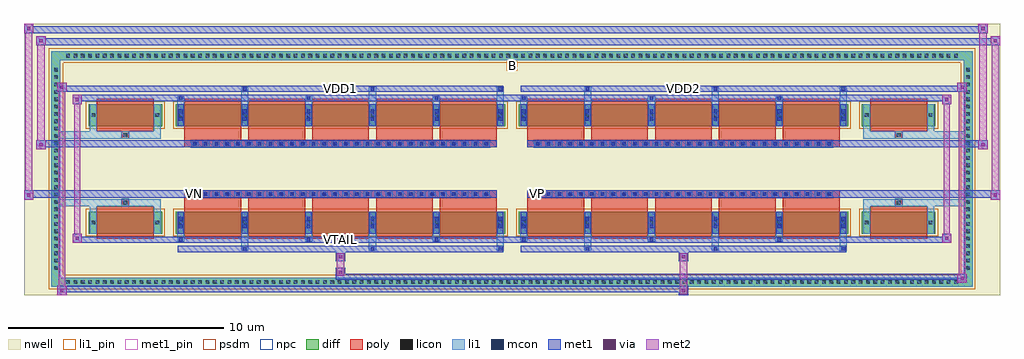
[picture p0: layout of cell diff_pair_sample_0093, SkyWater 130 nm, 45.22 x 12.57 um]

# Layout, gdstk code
import gdstk
lib = gdstk.Library(unit=1e-6, precision=5e-09)
def R(c, l, rs):  # rectangles x0, y0, x1, y1
    for r in rs: c.add(gdstk.rectangle(r[:2], r[2:], *l))
def A(c, l, x, y, w, h, nx, ny, dx, dy):  # array of equal rectangles
    R(c, l, [(x+i*dx, y+j*dy, x+i*dx+w, y+j*dy+h) for i in range(nx) for j in range(ny)])
def P(c, l, *ps):  # polygons
    for p in ps: c.add(gdstk.Polygon(p, *l))
nwell = (64, 20)
diff = (65, 20)
poly = (66, 20)
licon = (66, 44)
li1_pin = (67, 16)
li1 = (67, 20)
mcon = (67, 44)
met1_pin = (68, 16)
met1 = (68, 20)
via = (68, 44)
met2 = (69, 20)
psdm = (94, 20)
npc = (95, 20)

diff_pair_sample_0093 = lib.new_cell('diff_pair_sample_0093')
R(diff_pair_sample_0093, nwell, [(-22.61,-5.85,22.61,6.72), (-19.93,-4.04,-0.01,-0.8), (0.01,-4.04,19.93,-0.8), (-19.93,0.8,-0.01,4.04), (0.01,0.8,19.93,4.04)])
A(diff_pair_sample_0093, diff, -20.775, -5.45, 0.41, 0.41, 122, 2, 0.34, 10.49)
A(diff_pair_sample_0093, diff, -21.34, -4.795, 0.41, 0.41, 1, 28, 0, 0.34)
A(diff_pair_sample_0093, diff, 20.93, -4.795, 0.41, 0.41, 1, 28, 0, 0.34)
R(diff_pair_sample_0093, diff, [(-20.775,-5.45,20.775,-5.04), (-21.34,-4.795,-20.93,4.795), (20.93,-4.795,21.34,4.795), (-19.62,-2.995,-16.21,-1.985), (-15.57,-2.995,-0.32,-1.985), (0.32,-2.995,15.57,-1.985), (16.21,-2.995,19.62,-1.985), (-19.62,1.985,-16.21,2.995), (-15.57,1.985,-0.32,2.995), (0.32,1.985,15.57,2.995), (16.21,1.985,19.62,2.995), (-20.775,5.04,20.775,5.45)])
P(diff_pair_sample_0093, diff, [(21.34,5.45),(-21.34,5.45),(-21.34,-5.04),(-20.93,-5.04),(-20.93,5.04),(20.93,5.04),(20.93,-5.04),(-20.93,-5.04),(-21.34,-5.04),(-21.34,-5.45),(21.34,-5.45)])
A(diff_pair_sample_0093, poly, -15.18, -3.245, 2.63, 1.51, 5, 2, 2.96, 4.98)
A(diff_pair_sample_0093, poly, 0.71, -3.245, 2.63, 1.51, 5, 2, 2.96, 4.98)
A(diff_pair_sample_0093, poly, -15.18, -1.735, 2.63, 0.405, 5, 2, 2.96, 3.065)
A(diff_pair_sample_0093, poly, 0.71, -1.735, 2.63, 0.405, 5, 2, 2.96, 3.065)
A(diff_pair_sample_0093, poly, -14.86, -1.33, 0.33, 0.33, 28, 2, 0.5, 2.33)
A(diff_pair_sample_0093, poly, 1.03, -1.33, 0.33, 0.33, 28, 2, 0.5, 2.33)
R(diff_pair_sample_0093, poly, [(-19.23,-3.245,-16.6,-1.735), (16.6,-3.245,19.23,-1.735), (-18.08,-1.735,-17.75,-1.405), (-18.08,-1.735,-17.75,-1.405), (17.75,-1.735,18.08,-1.405), (17.75,-1.735,18.08,-1.405), (-15.18,-1.33,-0.71,-1), (0.71,-1.33,15.18,-1), (-15.18,1,-0.71,1.33), (0.71,1,15.18,1.33), (-18.08,1.405,-17.75,1.735), (-18.08,1.405,-17.75,1.735), (17.75,1.405,18.08,1.735), (17.75,1.405,18.08,1.735), (-19.23,1.735,-16.6,3.245), (16.6,1.735,19.23,3.245)])
A(diff_pair_sample_0093, licon, -20.655, -5.33, 0.17, 0.17, 122, 2, 0.34, 10.49)
A(diff_pair_sample_0093, licon, -21.22, -4.675, 0.17, 0.17, 1, 28, 0, 0.34)
A(diff_pair_sample_0093, licon, 21.05, -4.675, 0.17, 0.17, 1, 28, 0, 0.34)
A(diff_pair_sample_0093, licon, -15.43, -2.575, 0.17, 0.17, 6, 2, 2.96, 4.98)
A(diff_pair_sample_0093, licon, 0.46, -2.575, 0.17, 0.17, 6, 2, 2.96, 4.98)
A(diff_pair_sample_0093, licon, -14.78, -1.25, 0.17, 0.17, 28, 2, 0.5, 2.33)
A(diff_pair_sample_0093, licon, 1.11, -1.25, 0.17, 0.17, 28, 2, 0.5, 2.33)
R(diff_pair_sample_0093, licon, [(-19.48,-2.575,-19.31,-2.405), (-16.52,-2.575,-16.35,-2.405), (16.35,-2.575,16.52,-2.405), (19.31,-2.575,19.48,-2.405), (-18,-1.655,-17.83,-1.485), (17.83,-1.655,18,-1.485), (-18,1.485,-17.83,1.655), (17.83,1.485,18,1.655), (-19.48,2.405,-19.31,2.575), (-16.52,2.405,-16.35,2.575), (16.35,2.405,16.52,2.575), (19.31,2.405,19.48,2.575)])
R(diff_pair_sample_0093, li1_pin, [(-0.25,4.54,0.25,5.04)])
A(diff_pair_sample_0093, li1, -20.735, -5.41, 0.33, 0.33, 122, 2, 0.34, 10.49)
A(diff_pair_sample_0093, li1, -21.3, -4.755, 0.33, 0.33, 1, 28, 0, 0.34)
A(diff_pair_sample_0093, li1, 20.97, -4.755, 0.33, 0.33, 1, 28, 0, 0.34)
A(diff_pair_sample_0093, li1, -12.55, -3.8, 0.33, 0.805, 3, 2, 5.92, 6.795)
A(diff_pair_sample_0093, li1, -12.47, -3.8, 0.17, 0.17, 3, 2, 5.92, 7.43)
A(diff_pair_sample_0093, li1, 3.34, -3.8, 0.33, 0.805, 3, 2, 5.92, 6.795)
A(diff_pair_sample_0093, li1, 3.42, -3.8, 0.17, 0.17, 3, 2, 5.92, 7.43)
A(diff_pair_sample_0093, li1, -15.51, -3.37, 0.33, 0.375, 3, 2, 5.92, 6.365)
A(diff_pair_sample_0093, li1, -15.43, -3.37, 0.17, 0.17, 3, 2, 5.92, 6.57)
A(diff_pair_sample_0093, li1, 0.38, -3.37, 0.33, 0.375, 3, 2, 5.92, 6.365)
A(diff_pair_sample_0093, li1, 0.46, -3.37, 0.17, 0.17, 3, 2, 5.92, 6.57)
A(diff_pair_sample_0093, li1, -15.51, -2.995, 0.33, 1.01, 6, 2, 2.96, 4.98)
A(diff_pair_sample_0093, li1, 0.38, -2.995, 0.33, 1.01, 6, 2, 2.96, 4.98)
A(diff_pair_sample_0093, li1, -15.43, -2.755, 0.17, 0.17, 6, 2, 2.96, 0.36)
A(diff_pair_sample_0093, li1, -15.43, -2.755, 0.17, 0.53, 6, 2, 2.96, 4.98)
A(diff_pair_sample_0093, li1, 0.46, -2.755, 0.17, 0.17, 6, 2, 2.96, 0.36)
A(diff_pair_sample_0093, li1, 0.46, -2.755, 0.17, 0.53, 6, 2, 2.96, 4.98)
A(diff_pair_sample_0093, li1, -15.51, -2.655, 0.33, 0.33, 6, 2, 2.96, 4.98)
A(diff_pair_sample_0093, li1, 0.38, -2.655, 0.33, 0.33, 6, 2, 2.96, 4.98)
A(diff_pair_sample_0093, li1, -14.86, -1.33, 0.33, 0.33, 28, 2, 0.5, 2.33)
A(diff_pair_sample_0093, li1, 1.03, -1.33, 0.33, 0.33, 28, 2, 0.5, 2.33)
A(diff_pair_sample_0093, li1, -15.43, 2.225, 0.17, 0.17, 6, 2, 2.96, 0.36)
A(diff_pair_sample_0093, li1, 0.46, 2.225, 0.17, 0.17, 6, 2, 2.96, 0.36)
R(diff_pair_sample_0093, li1, [(-21.34,-5.45,-20.93,-5.04), (-21.34,-5.45,-20.93,-5.04), (-20.93,-5.45,20.93,-5.04), (20.93,-5.45,21.34,-5.04), (20.93,-5.45,21.34,-5.04), (-21.34,-5.04,-20.93,5.04), (20.93,-5.04,21.34,5.04), (-19.56,-2.995,-19.23,-1.985), (-16.6,-2.995,-16.27,-1.985), (16.27,-2.995,16.6,-1.985), (19.23,-2.995,19.56,-1.985), (-19.56,-2.655,-19.23,-2.325), (-16.6,-2.655,-16.27,-2.325), (16.27,-2.655,16.6,-2.325), (19.23,-2.655,19.56,-2.325), (-19.56,-1.985,-19.23,-1.405), (-16.6,-1.985,-16.27,-1.405), (16.27,-1.985,16.6,-1.405), (19.23,-1.985,19.56,-1.405), (-21.34,-1.735,-18.08,-1.405), (-19.56,-1.735,-18.08,-1.405), (-18.08,-1.735,-17.75,-1.405), (-17.75,-1.735,-16.27,-1.405), (16.27,-1.735,17.75,-1.405), (17.75,-1.735,18.08,-1.405), (17.75,-1.735,21.34,-1.405), (18.08,-1.735,19.56,-1.405), (-21.34,1.405,-18.08,1.735), (-19.56,1.405,-18.08,1.735), (-19.56,1.405,-19.23,1.985), (-18.08,1.405,-17.75,1.735), (-17.75,1.405,-16.27,1.735), (-16.6,1.405,-16.27,1.985), (16.27,1.405,17.75,1.735), (16.27,1.405,16.6,1.985), (17.75,1.405,18.08,1.735), (17.75,1.405,21.34,1.735), (18.08,1.405,19.56,1.735), (19.23,1.405,19.56,1.985), (-19.56,1.985,-19.23,2.995), (-16.6,1.985,-16.27,2.995), (16.27,1.985,16.6,2.995), (19.23,1.985,19.56,2.995), (-19.56,2.325,-19.23,2.655), (-16.6,2.325,-16.27,2.655), (16.27,2.325,16.6,2.655), (19.23,2.325,19.56,2.655), (-21.34,5.04,-20.93,5.45), (-21.34,5.04,-20.93,5.45), (-20.93,5.04,20.93,5.45), (20.93,5.04,21.34,5.45), (20.93,5.04,21.34,5.45)])
A(diff_pair_sample_0093, mcon, -12.47, -3.8, 0.17, 0.17, 3, 2, 5.92, 7.43)
A(diff_pair_sample_0093, mcon, 3.42, -3.8, 0.17, 0.17, 3, 2, 5.92, 7.43)
A(diff_pair_sample_0093, mcon, -15.43, -3.37, 0.17, 0.17, 3, 2, 5.92, 6.57)
A(diff_pair_sample_0093, mcon, 0.46, -3.37, 0.17, 0.17, 3, 2, 5.92, 6.57)
A(diff_pair_sample_0093, mcon, -15.43, -2.755, 0.17, 0.17, 6, 2, 2.96, 0.36)
A(diff_pair_sample_0093, mcon, 0.46, -2.755, 0.17, 0.17, 6, 2, 2.96, 0.36)
A(diff_pair_sample_0093, mcon, -14.78, -1.25, 0.17, 0.17, 28, 2, 0.5, 2.33)
A(diff_pair_sample_0093, mcon, 1.11, -1.25, 0.17, 0.17, 28, 2, 0.5, 2.33)
A(diff_pair_sample_0093, mcon, -15.43, 2.225, 0.17, 0.17, 6, 2, 2.96, 0.36)
A(diff_pair_sample_0093, mcon, 0.46, 2.225, 0.17, 0.17, 6, 2, 2.96, 0.36)
R(diff_pair_sample_0093, met1_pin, [(-8.08,-3.41,-7.81,-3.14), (-14.83,-1.29,-14.56,-1.02), (1.06,-1.29,1.33,-1.02), (-8.08,3.59,-7.81,3.86), (7.81,3.59,8.08,3.86)])
A(diff_pair_sample_0093, met1, -12.53, -3.86, 0.29, 0.29, 3, 2, 5.92, 7.43)
A(diff_pair_sample_0093, met1, 3.36, -3.86, 0.29, 0.29, 3, 2, 5.92, 7.43)
A(diff_pair_sample_0093, met1, -15.49, -3.43, 0.29, 0.29, 3, 2, 5.92, 6.57)
A(diff_pair_sample_0093, met1, 0.4, -3.43, 0.29, 0.29, 3, 2, 5.92, 6.57)
A(diff_pair_sample_0093, met1, -15.49, -2.995, 0.29, 1.01, 6, 2, 2.96, 4.98)
A(diff_pair_sample_0093, met1, 0.4, -2.995, 0.29, 1.01, 6, 2, 2.96, 4.98)
A(diff_pair_sample_0093, met1, -15.49, -2.815, 0.29, 0.29, 6, 2, 2.96, 0.36)
A(diff_pair_sample_0093, met1, 0.4, -2.815, 0.29, 0.29, 6, 2, 2.96, 0.36)
A(diff_pair_sample_0093, met1, -14.84, -1.31, 0.29, 0.29, 28, 2, 0.5, 2.33)
A(diff_pair_sample_0093, met1, 1.05, -1.31, 0.29, 0.29, 28, 2, 0.5, 2.33)
A(diff_pair_sample_0093, met1, -15.49, 2.165, 0.29, 0.29, 6, 2, 2.96, 0.36)
A(diff_pair_sample_0093, met1, 0.4, 2.165, 0.29, 0.29, 6, 2, 2.96, 0.36)
R(diff_pair_sample_0093, met1, [(-21.07,-5.85,-20.64,-5.42), (7.73,-5.85,8.16,-5.42), (-21.07,-5.71,8.16,-5.42), (20.64,-5.28,21.07,-4.85), (-8.16,-5.14,21.07,-4.85), (-8.16,-5,-7.73,-4.57), (-8.16,-4.29,-7.73,-3.86), (7.73,-4.29,8.16,-3.86), (-15.49,-3.86,-0.4,-3.57), (0.4,-3.86,15.49,-3.57), (-20.36,-3.43,-19.93,-3), (-20.36,-3.43,-15.49,-3.14), (-15.49,-3.43,-0.4,-3.14), (-0.4,-3.43,0.4,-3.14), (0.4,-3.43,15.49,-3.14), (15.49,-3.43,20.36,-3.14), (19.93,-3.43,20.36,-3), (-22.61,-1.43,-22.18,-1), (22.18,-1.43,22.61,-1), (-22.61,-1.33,-0.71,-1), (-15.18,-1.33,-0.71,-1), (0.71,-1.33,15.18,-1), (0.71,-1.33,22.61,-1), (-22.04,0.9,-21.61,1.33), (21.61,0.9,22.04,1.33), (-22.04,1,-15.18,1.33), (-15.18,1,-0.71,1.33), (0.71,1,15.18,1.33), (15.18,1,22.04,1.33), (-20.36,3,-19.93,3.43), (19.93,3,20.36,3.43), (-20.36,3.14,-15.49,3.43), (-15.49,3.14,-0.4,3.43), (-0.4,3.14,0.4,3.43), (0.4,3.14,15.49,3.43), (15.49,3.14,20.36,3.43), (-21.07,3.57,-20.64,4), (-21.07,3.57,-15.49,3.86), (-15.49,3.57,-0.4,3.86), (0.4,3.57,15.49,3.86), (15.49,3.57,21.07,3.86), (20.64,3.57,21.07,4), (-22.04,5.72,-21.61,6.15), (-22.04,5.72,-19.93,6.05), (-19.93,5.72,19.93,6.05), (19.93,5.72,22.61,6.05), (22.18,5.72,22.61,6.15), (-22.61,6.29,-22.18,6.72), (-22.61,6.29,-19.93,6.62), (-19.93,6.29,19.93,6.62), (19.93,6.29,22.04,6.62), (21.61,6.29,22.04,6.72)])
R(diff_pair_sample_0093, via, [(-20.93,-5.71,-20.78,-5.56), (7.87,-5.71,8.02,-5.56), (20.78,-5.14,20.93,-4.99), (-8.02,-4.86,-7.87,-4.71), (-8.02,-4.15,-7.87,-4), (7.87,-4.15,8.02,-4), (-20.22,-3.29,-20.07,-3.14), (20.07,-3.29,20.22,-3.14), (-22.47,-1.29,-22.32,-1.14), (22.32,-1.29,22.47,-1.14), (-21.9,1.04,-21.75,1.19), (21.75,1.04,21.9,1.19), (-20.22,3.14,-20.07,3.29), (20.07,3.14,20.22,3.29), (-20.93,3.71,-20.78,3.86), (20.78,3.71,20.93,3.86), (-21.9,5.86,-21.75,6.01), (22.32,5.86,22.47,6.01), (-22.47,6.43,-22.32,6.58), (21.75,6.43,21.9,6.58)])
R(diff_pair_sample_0093, met2, [(-21.07,-5.85,-20.64,-5.42), (-21,-5.85,-20.71,4), (-20.71,-5.85,-20.64,-5.42), (-21.02,-5.8,-20.69,-5.47), (7.78,-5.8,8.11,-5.47), (7.78,-5.47,8.11,-4.24), (20.64,-5.28,21.07,-4.85), (20.71,-5.28,21,4), (21,-5.28,21.07,-4.85), (20.69,-5.23,21.02,-4.9), (-8.11,-4.95,-7.78,-4.62), (-8.11,-4.62,-7.78,-4.24), (-8.11,-4.24,-7.78,-3.91), (7.78,-4.24,8.11,-3.91), (-20.36,-3.43,-19.93,-3), (-20.29,-3.43,-20,3.43), (-20,-3.43,-19.93,-3), (19.93,-3.43,20.36,-3), (20,-3.43,20.29,3.43), (20.29,-3.43,20.36,-3), (-20.31,-3.38,-19.98,-3.05), (19.98,-3.38,20.31,-3.05), (-22.61,-1.43,-22.18,-1), (-22.56,-1.43,-22.23,6.72), (-22.23,-1.43,-22.18,-1), (22.18,-1.43,22.61,-1), (22.23,-1.43,22.56,6.15), (22.56,-1.43,22.61,-1), (-22.56,-1.38,-22.23,-1.05), (22.23,-1.38,22.56,-1.05), (-22.04,0.9,-21.61,1.33), (-21.99,0.9,-21.66,6.15), (-21.66,0.9,-21.61,1.33), (21.61,0.9,22.04,1.33), (21.66,0.9,21.99,6.72), (21.99,0.9,22.04,1.33), (-21.99,0.95,-21.66,1.28), (21.66,0.95,21.99,1.28), (-20.36,3,-19.93,3.43), (-20,3,-19.93,3.43), (19.93,3,20.36,3.43), (20.29,3,20.36,3.43), (-20.31,3.05,-19.98,3.38), (19.98,3.05,20.31,3.38), (-21.07,3.57,-20.64,4), (-20.71,3.57,-20.64,4), (20.64,3.57,21.07,4), (21,3.57,21.07,4), (-21.02,3.62,-20.69,3.95), (20.69,3.62,21.02,3.95), (-22.04,5.72,-21.61,6.15), (-21.66,5.72,-21.61,6.15), (22.18,5.72,22.61,6.15), (22.56,5.72,22.61,6.15), (-21.99,5.77,-21.66,6.1), (22.23,5.77,22.56,6.1), (-22.61,6.29,-22.18,6.72), (-22.23,6.29,-22.18,6.72), (21.61,6.29,22.04,6.72), (21.99,6.29,22.04,6.72), (-22.56,6.34,-22.23,6.67), (21.66,6.34,21.99,6.67)])
R(diff_pair_sample_0093, psdm, [(-19.75,-3.125,-16.08,-1.855), (-15.7,-3.125,-0.19,-1.855), (0.19,-3.125,15.7,-1.855), (16.08,-3.125,19.75,-1.855), (-19.75,1.855,-16.08,3.125), (-15.7,1.855,-0.19,3.125), (0.19,1.855,15.7,3.125), (16.08,1.855,19.75,3.125)])
P(diff_pair_sample_0093, psdm, [(21.47,5.58),(-21.47,5.58),(-21.47,-4.91),(-20.8,-4.91),(-20.8,4.91),(20.8,4.91),(20.8,-4.91),(-20.8,-4.91),(-21.47,-4.91),(-21.47,-5.58),(21.47,-5.58)])
A(diff_pair_sample_0093, npc, -14.88, -1.35, 0.37, 0.37, 28, 2, 0.5, 2.33)
A(diff_pair_sample_0093, npc, 1.01, -1.35, 0.37, 0.37, 28, 2, 0.5, 2.33)
R(diff_pair_sample_0093, npc, [(-18.1,-1.755,-17.73,-1.385), (17.73,-1.755,18.1,-1.385), (-14.88,-1.35,-14.01,-0.98), (-14.88,-1.35,-14.01,-0.98), (-14.38,-1.35,-13.51,-0.98), (-14.38,-1.35,-13.51,-0.98), (-13.88,-1.35,-13.01,-0.98), (-13.88,-1.35,-13.01,-0.98), (-13.38,-1.35,-12.51,-0.98), (-13.38,-1.35,-12.51,-0.98), (-12.88,-1.35,-12.01,-0.98), (-12.88,-1.35,-12.01,-0.98), (-12.38,-1.35,-11.51,-0.98), (-12.38,-1.35,-11.51,-0.98), (-11.88,-1.35,-11.01,-0.98), (-11.88,-1.35,-11.01,-0.98), (-11.38,-1.35,-10.51,-0.98), (-11.38,-1.35,-10.51,-0.98), (-10.88,-1.35,-10.01,-0.98), (-10.88,-1.35,-10.01,-0.98), (-10.38,-1.35,-9.51,-0.98), (-10.38,-1.35,-9.51,-0.98), (-9.88,-1.35,-9.01,-0.98), (-9.88,-1.35,-9.01,-0.98), (-9.38,-1.35,-8.51,-0.98), (-9.38,-1.35,-8.51,-0.98), (-8.88,-1.35,-8.01,-0.98), (-8.88,-1.35,-8.01,-0.98), (-8.38,-1.35,-7.51,-0.98), (-8.38,-1.35,-7.51,-0.98), (-7.88,-1.35,-7.01,-0.98), (-7.88,-1.35,-7.01,-0.98), (-7.38,-1.35,-6.51,-0.98), (-7.38,-1.35,-6.51,-0.98), (-6.88,-1.35,-6.01,-0.98), (-6.88,-1.35,-6.01,-0.98), (-6.38,-1.35,-5.51,-0.98), (-6.38,-1.35,-5.51,-0.98), (-5.88,-1.35,-5.01,-0.98), (-5.88,-1.35,-5.01,-0.98), (-5.38,-1.35,-4.51,-0.98), (-5.38,-1.35,-4.51,-0.98), (-4.88,-1.35,-4.01,-0.98), (-4.88,-1.35,-4.01,-0.98), (-4.38,-1.35,-3.51,-0.98), (-4.38,-1.35,-3.51,-0.98), (-3.88,-1.35,-3.01,-0.98), (-3.88,-1.35,-3.01,-0.98), (-3.38,-1.35,-2.51,-0.98), (-3.38,-1.35,-2.51,-0.98), (-2.88,-1.35,-2.01,-0.98), (-2.88,-1.35,-2.01,-0.98), (-2.38,-1.35,-1.51,-0.98), (-2.38,-1.35,-1.51,-0.98), (-1.88,-1.35,-1.01,-0.98), (-1.88,-1.35,-1.01,-0.98), (1.01,-1.35,1.88,-0.98), (1.01,-1.35,1.88,-0.98), (1.51,-1.35,2.38,-0.98), (1.51,-1.35,2.38,-0.98), (2.01,-1.35,2.88,-0.98), (2.01,-1.35,2.88,-0.98), (2.51,-1.35,3.38,-0.98), (2.51,-1.35,3.38,-0.98), (3.01,-1.35,3.88,-0.98), (3.01,-1.35,3.88,-0.98), (3.51,-1.35,4.38,-0.98), (3.51,-1.35,4.38,-0.98), (4.01,-1.35,4.88,-0.98), (4.01,-1.35,4.88,-0.98), (4.51,-1.35,5.38,-0.98), (4.51,-1.35,5.38,-0.98), (5.01,-1.35,5.88,-0.98), (5.01,-1.35,5.88,-0.98), (5.51,-1.35,6.38,-0.98), (5.51,-1.35,6.38,-0.98), (6.01,-1.35,6.88,-0.98), (6.01,-1.35,6.88,-0.98), (6.51,-1.35,7.38,-0.98), (6.51,-1.35,7.38,-0.98), (7.01,-1.35,7.88,-0.98), (7.01,-1.35,7.88,-0.98), (7.51,-1.35,8.38,-0.98), (7.51,-1.35,8.38,-0.98), (8.01,-1.35,8.88,-0.98), (8.01,-1.35,8.88,-0.98), (8.51,-1.35,9.38,-0.98), (8.51,-1.35,9.38,-0.98), (9.01,-1.35,9.88,-0.98), (9.01,-1.35,9.88,-0.98), (9.51,-1.35,10.38,-0.98), (9.51,-1.35,10.38,-0.98), (10.01,-1.35,10.88,-0.98), (10.01,-1.35,10.88,-0.98), (10.51,-1.35,11.38,-0.98), (10.51,-1.35,11.38,-0.98), (11.01,-1.35,11.88,-0.98), (11.01,-1.35,11.88,-0.98), (11.51,-1.35,12.38,-0.98), (11.51,-1.35,12.38,-0.98), (12.01,-1.35,12.88,-0.98), (12.01,-1.35,12.88,-0.98), (12.51,-1.35,13.38,-0.98), (12.51,-1.35,13.38,-0.98), (13.01,-1.35,13.88,-0.98), (13.01,-1.35,13.88,-0.98), (13.51,-1.35,14.38,-0.98), (13.51,-1.35,14.38,-0.98), (14.01,-1.35,14.88,-0.98), (14.01,-1.35,14.88,-0.98), (-14.88,0.98,-14.01,1.35), (-14.88,0.98,-14.01,1.35), (-14.38,0.98,-13.51,1.35), (-14.38,0.98,-13.51,1.35), (-13.88,0.98,-13.01,1.35), (-13.88,0.98,-13.01,1.35), (-13.38,0.98,-12.51,1.35), (-13.38,0.98,-12.51,1.35), (-12.88,0.98,-12.01,1.35), (-12.88,0.98,-12.01,1.35), (-12.38,0.98,-11.51,1.35), (-12.38,0.98,-11.51,1.35), (-11.88,0.98,-11.01,1.35), (-11.88,0.98,-11.01,1.35), (-11.38,0.98,-10.51,1.35), (-11.38,0.98,-10.51,1.35), (-10.88,0.98,-10.01,1.35), (-10.88,0.98,-10.01,1.35), (-10.38,0.98,-9.51,1.35), (-10.38,0.98,-9.51,1.35), (-9.88,0.98,-9.01,1.35), (-9.88,0.98,-9.01,1.35), (-9.38,0.98,-8.51,1.35), (-9.38,0.98,-8.51,1.35), (-8.88,0.98,-8.01,1.35), (-8.88,0.98,-8.01,1.35), (-8.38,0.98,-7.51,1.35), (-8.38,0.98,-7.51,1.35), (-7.88,0.98,-7.01,1.35), (-7.88,0.98,-7.01,1.35), (-7.38,0.98,-6.51,1.35), (-7.38,0.98,-6.51,1.35), (-6.88,0.98,-6.01,1.35), (-6.88,0.98,-6.01,1.35), (-6.38,0.98,-5.51,1.35), (-6.38,0.98,-5.51,1.35), (-5.88,0.98,-5.01,1.35), (-5.88,0.98,-5.01,1.35), (-5.38,0.98,-4.51,1.35), (-5.38,0.98,-4.51,1.35), (-4.88,0.98,-4.01,1.35), (-4.88,0.98,-4.01,1.35), (-4.38,0.98,-3.51,1.35), (-4.38,0.98,-3.51,1.35), (-3.88,0.98,-3.01,1.35), (-3.88,0.98,-3.01,1.35), (-3.38,0.98,-2.51,1.35), (-3.38,0.98,-2.51,1.35), (-2.88,0.98,-2.01,1.35), (-2.88,0.98,-2.01,1.35), (-2.38,0.98,-1.51,1.35), (-2.38,0.98,-1.51,1.35), (-1.88,0.98,-1.01,1.35), (-1.88,0.98,-1.01,1.35), (1.01,0.98,1.88,1.35), (1.01,0.98,1.88,1.35), (1.51,0.98,2.38,1.35), (1.51,0.98,2.38,1.35), (2.01,0.98,2.88,1.35), (2.01,0.98,2.88,1.35), (2.51,0.98,3.38,1.35), (2.51,0.98,3.38,1.35), (3.01,0.98,3.88,1.35), (3.01,0.98,3.88,1.35), (3.51,0.98,4.38,1.35), (3.51,0.98,4.38,1.35), (4.01,0.98,4.88,1.35), (4.01,0.98,4.88,1.35), (4.51,0.98,5.38,1.35), (4.51,0.98,5.38,1.35), (5.01,0.98,5.88,1.35), (5.01,0.98,5.88,1.35), (5.51,0.98,6.38,1.35), (5.51,0.98,6.38,1.35), (6.01,0.98,6.88,1.35), (6.01,0.98,6.88,1.35), (6.51,0.98,7.38,1.35), (6.51,0.98,7.38,1.35), (7.01,0.98,7.88,1.35), (7.01,0.98,7.88,1.35), (7.51,0.98,8.38,1.35), (7.51,0.98,8.38,1.35), (8.01,0.98,8.88,1.35), (8.01,0.98,8.88,1.35), (8.51,0.98,9.38,1.35), (8.51,0.98,9.38,1.35), (9.01,0.98,9.88,1.35), (9.01,0.98,9.88,1.35), (9.51,0.98,10.38,1.35), (9.51,0.98,10.38,1.35), (10.01,0.98,10.88,1.35), (10.01,0.98,10.88,1.35), (10.51,0.98,11.38,1.35), (10.51,0.98,11.38,1.35), (11.01,0.98,11.88,1.35), (11.01,0.98,11.88,1.35), (11.51,0.98,12.38,1.35), (11.51,0.98,12.38,1.35), (12.01,0.98,12.88,1.35), (12.01,0.98,12.88,1.35), (12.51,0.98,13.38,1.35), (12.51,0.98,13.38,1.35), (13.01,0.98,13.88,1.35), (13.01,0.98,13.88,1.35), (13.51,0.98,14.38,1.35), (13.51,0.98,14.38,1.35), (14.01,0.98,14.88,1.35), (14.01,0.98,14.88,1.35), (-18.1,1.385,-17.73,1.755), (17.73,1.385,18.1,1.755)])
diff_pair_sample_0093.add(gdstk.Label('VTAIL', (-7.945,-3.275), layer=68, texttype=5))
diff_pair_sample_0093.add(gdstk.Label('VN', (-14.695,-1.155), layer=68, texttype=5))
diff_pair_sample_0093.add(gdstk.Label('VP', (1.195,-1.155), layer=68, texttype=5))
diff_pair_sample_0093.add(gdstk.Label('B', (0,4.79), layer=67, texttype=5))
diff_pair_sample_0093.add(gdstk.Label('VDD2', (7.945,3.725), layer=68, texttype=5))
diff_pair_sample_0093.add(gdstk.Label('VDD1', (-7.945,3.725), layer=68, texttype=5))

lib.write_gds('diff_pair_sample_0093.gds')
